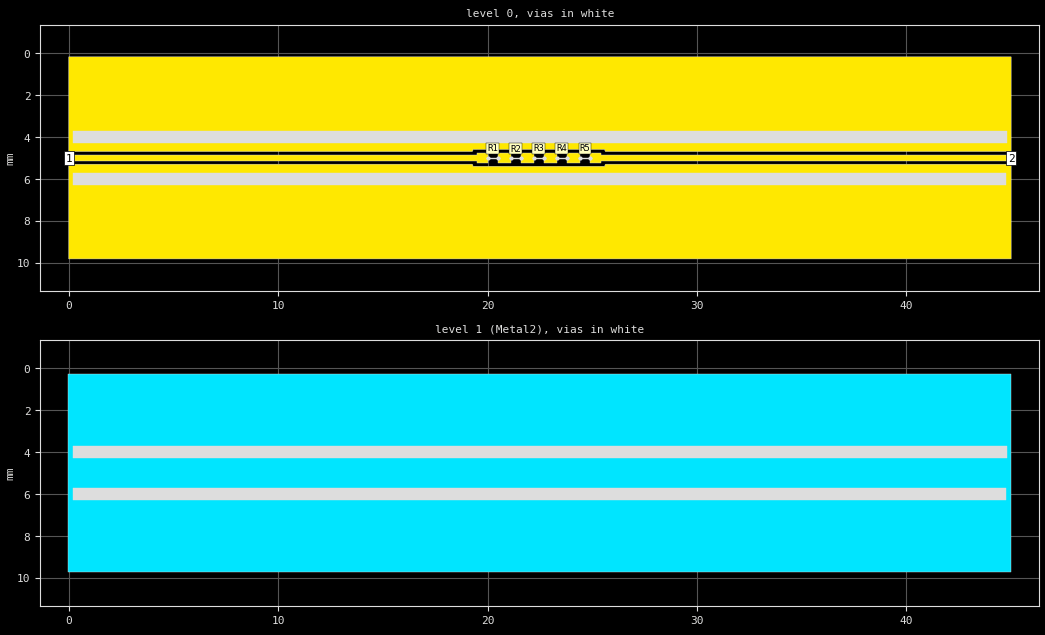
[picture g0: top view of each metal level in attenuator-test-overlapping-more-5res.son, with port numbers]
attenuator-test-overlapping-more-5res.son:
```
FTYP SONPROJ 17 ! Sonnet Project File
VER 17.52.2
HEADER
LIC antikernel2.2.49648 90e2ba8817c0 havequick azonenberg
DAT 08/30/2020 02:09:48
BUILT_BY_CREATED xgeom 16.56 07/03/2018 15:05:41
BUILT_BY_SAVED sonnet 17.52.2
MDATE 08/30/2020 02:09:48
HDATE 08/30/2020 02:09:48
END HEADER
DIM
ANG DEG
CAP PF
CON /OH
FREQ GHZ
IND NH
LNG MM
RES OH
END DIM
CONTROL
VARSWP
OPTIONS  -dj
SPEED 1
CACHE_ABS 1
Q_ACC N
END CONTROL
GEO
TMET "Free Space" 0 FREESPACE 376.7303136 0 0 0
BMET "Free Space" 0 FREESPACE 376.7303136 0 0 0
MET "Silver" 1 TMM 61700000 0.5 0.035 2
BRI "Alumina (96%)" 0 9.4 0.0004 0 
BRI "Alumina (99.5%)" 0 9.9 0.0001 0 
BRI "Aluminum Nitride" 0 8.6 0.0003 0 
BRI "Arlon 25FR" 0 3.58 0.0035 0 
BRI "Arlon 25N" 0 3.38 0.0025 0 
BRI "Arlon AD5" 0 5.1 0.003 0 
BRI "Arlon AD10" 0 10.2 0.005 0 
BRI "Arlon AD250" 0 2.5 0.0018 0 
BRI "Arlon AD255A" 0 2.55 0.0015 0 
BRI "Arlon AD260A" 0 2.6 0.0018 0 
BRI "Arlon AD270" 0 2.7 0.0023 0 
BRI "Arlon AD300A" 0 3 0.002 0 
BRI "Arlon AD320A" 0 3.2 0.0032 0 
BRI "Arlon AD350A" 0 3.5 0.003 0 
BRI "Arlon AD410" 0 4.1 0.003 0 
BRI "Arlon AD430" 0 4.3 0.003 0 
BRI "Arlon AD450" 0 4.5 0.0035 0 
BRI "Arlon AD600" 0 6.15 0.003 0 
BRI "Arlon AD1000" 0 10.2 0.0023 0 
BRI "Arlon AR1000" 0 9.8 0.003 0 
BRI "Arlon CLTE" 0 2.96 0.0023 0 
BRI "Arlon CLTE-AT" 0 3 0.0013 0 
BRI "Arlon CLTE-P" 0 2.94 0.0025 0 
BRI "Arlon CLTE-XT" 0 2.94 0.0012 0 
BRI "Arlon Cu 217LX" 0 2.17 0.0009 0 
BRI "Arlon Cu 233LX" 0 2.33 0.0013 0 
BRI "Arlon Cu 250GT" 0 2.5 0.001 0 
BRI "Arlon Cu 250GX" 0 2.5 0.0018 0 
BRI "Arlon Cu 6250" 0 2.32 0.0013 0 
BRI "Arlon Cu 6700" 0 2.35 0.0025 0 
BRI "Arlon Di 522" 0 2.5 0.001 0 
BRI "Arlon Di 527" 0 2.5 0.0018 0 
BRI "Arlon Di 870" 0 2.33 0.0013 0 
BRI "Arlon Di 880" 0 2.17 0.0009 0 
BRI "Arlon Iso 917" 0 2.17 0.0013 0 
BRI "Arlon Iso 933" 0 2.33 0.0016 0 
BRI "Arlon Multi HF" 0 3.7 0.004 0 
BRI "Arlon TC350" 0 3.5 0.002 0 
BRI "Arlon TC600" 0 6.15 0.002 0 
BRI "Beryllia (99.5%)" 0 6.5 0.0004 0 
BRI "CEM-1" 0 4.5 0.02 0 
BRI "CEM-3" 0 4.5 0.02 0 
BRI "Dupont 9K7" 0 7.1 0.0012 0 
BRI "Dupont 943" 0 7.4 0.002 0 
BRI "Dupont 951" 0 7.8 0.006 0 
BRI "Dupont FEP" 0 2 0.0005 0 
BRI "Dupont Vacrel" 0 3.8 0.011 0 
BRI "ESL 41010" 0 7.5 0.005 0 
BRI "ESL 41020" 0 7.25 0.005 0 
BRI "ESL 41050" 0 13.5 0.002 0 
BRI "ESL 41060" 0 16.5 0.002 0 
BRI "ESL 41110" 0 4.5 0.004 0 
BRI "Ferro A6M" 0 5.9 0.002 0 
BRI "Ferro A6S" 0 5.9 0.002 0 
BRI "Ferro L8" 0 7.3 0.0018 0 
BRI "FR-4" 0 4.4 0.02 0 
BRI "G-10" 0 4.8 0.025 0 
BRI "Gallium Arsenide" 0 12.9 0.006 0 
BRI "Gallium Nitride" 0 9.7 0 0 
BRI "Glass (Pyrex)" 0 4.82 0.0054 0 
BRI "Heraeus HL2000" 0 7.3 0.0026 0 
BRI "Isola 370HR" 0 4.04 0.021 0 
BRI "Isola FR408" 0 3.77 0.0116 0 
BRI "Isola FR408HR" 0 3.68 0.0092 0 
BRI "Isola Getek" 0 3.6 0.01 0 
BRI "Isola GI-180" 0 3.7 0.013 0 
BRI "Isola IS415" 0 3.82 0.0125 0 
BRI "Isola IS620i" 0 3.58 0.006 0 
BRI "Isola IS680-280" 0 2.8 0.0025 0 
BRI "Isola IS680-300" 0 3 0.003 0 
BRI "Isola IS680-320" 0 3.2 0.003 0 
BRI "Isola IS680-333" 0 3.33 0.003 0 
BRI "Isola IS680-338" 0 3.38 0.0032 0 
BRI "Isola IS680-345" 0 3.45 0.0036 0 
BRI "Kerafol CT800" 0 5.3 0.008 0 
BRI "Nelco MW9350" 0 3.7 0.004 0 
BRI "Nelco N4000-12" 0 3.7 0.008 0 
BRI "Nelco N4000-13" 0 3.7 0.009 0 
BRI "Nelco N4000-13SI" 0 3.2 0.007 0 
BRI "Nelco N4000-13EP" 0 3.7 0.008 0 
BRI "Nelco N4350-13RF" 0 3.5 0.0065 0 
BRI "Nelco N4380-13RF" 0 3.8 0.007 0 
BRI "Nelco N9300-13RF" 0 3 0.004 0 
BRI "Nelco N9320-13RF" 0 3.2 0.0045 0 
BRI "Nelco N9338-13RF" 0 3.38 0.0046 0 
BRI "Nelco N9350-13RF" 0 3.48 0.0055 0 
BRI "Nelco NH9294" 0 2.94 0.0022 0 
BRI "Nelco NH9300" 0 3 0.0023 0 
BRI "Nelco NH9320" 0 3.2 0.0024 0 
BRI "Nelco NH9338" 0 3.38 0.0025 0 
BRI "Nelco NH9348" 0 3.48 0.003 0 
BRI "Nelco NH9350" 0 3.5 0.003 0 
BRI "Nelco NH9410" 0 4.1 0.003 0 
BRI "Nelco NH9450" 0 4.5 0.003 0 
BRI "Nelco NX9240" 0 2.4 0.0016 0 
BRI "Nelco NX9245" 0 2.45 0.0016 0 
BRI "Nelco NX9250" 0 2.5 0.0017 0 
BRI "Nelco NX9255" 0 2.55 0.0018 0 
BRI "Nelco NX9260" 0 2.6 0.0019 0 
BRI "Nelco NY9208" 0 2.08 0.0006 0 
BRI "Nelco NY9217" 0 2.17 0.0008 0 
BRI "Nelco NY9220" 0 2.2 0.0009 0 
BRI "Nelco NY9233" 0 2.33 0.0011 0 
BRI "PET" 0 3.37 0.0208 0 
BRI "Polyimide" 0 3.5 0.003 0 
BRI "Quartz (Fused)" 0 3.78 0.0001 0 
BRI "Rogers 3001" 0 2.28 0.003 0 
BRI "Rogers RO2808" 0 7.6 0.0015 0 
BRI "Rogers RO3003" 0 3 0.0013 0 
BRI "Rogers RO3006" 0 6.5 0.002 0 
BRI "Rogers RO3010" 0 11.2 0.0022 0 
BRI "Rogers RO3035" 0 3.6 0.0018 0 
BRI "Rogers RO3203" 0 3.02 0.0016 0 
BRI "Rogers RO3206" 0 6.6 0.0027 0 
BRI "Rogers RO3210" 0 10.8 0.0027 0 
BRI "Rogers RO3730" 0 3 0.0016 0 
BRI "Rogers RO4003C" 0 3.55 0.0029 0 
BRI "Rogers RO4533" 0 3.45 0.0029 0 
BRI "Rogers RO4534" 0 3.4 0.003 0 
BRI "Rogers RO4350B" 0 3.66 0.0037 0 
BRI "Rogers RO4350BTX" 0 3.66 0.0034 0 
BRI "Rogers RO4360" 0 6.15 0.0038 0 
BRI "Rogers RO4450B-3.6" 0 3.3 0.0043 0 
BRI "Rogers RO4450B-4" 0 3.54 0.004 0 
BRI "Rogers RO4450F" 0 3.52 0.0041 0 
BRI "Rogers RO4730" 0 3 0.0033 0 
BRI "Rogers RT5870" 0 2.33 0.0012 0 
BRI "Rogers RT5880" 0 2.2 0.0009 0 
BRI "Rogers RT5880LZ" 0 1.96 0.0019 0 
BRI "Rogers RT6002" 0 2.94 0.0012 0 
BRI "Rogers RT6006" 0 6.15 0.0027 0 
BRI "Rogers RT6010LM" 0 10.9 0.0023 0 
BRI "Rogers RT6035HTC" 0 3.6 0.0013 0 
BRI "Rogers RT6202" 0 2.94 0.0015 0 
BRI "Rogers RT6202PR" 0 2.95 0.0015 0 
BRI "Rogers Syron7000" 0 3.4 0.0045 0 
BRI "Rogers Syron7100-2" 0 3.61 0.006 0 
BRI "Rogers Syron7100-4" 0 3.39 0.005 0 
BRI "Rogers Theta" 0 4.01 0.0118 0 
BRI "Rogers TMM 3" 0 3.39 0.002 0 
BRI "Rogers TMM 4" 0 4.5 0.002 0 
BRI "Rogers TMM 6" 0 6 0.0023 0 
BRI "Rogers TMM 10" 0 9.56 0.0022 0 
BRI "Rogers TMM 10i" 0 9.96 0.002 0 
BRI "Rogers UL2000" 0 2.5 0.0019 0 
BRI "Rogers UL3850" 0 3.05 0.0025 0 
BRI "Rogers UL3908" 0 2.9 0.0025 0 
BRI "Rogers XT8000" 0 3.34 0.0035 0 
BRI "Rogers XT8100-2" 0 3.54 0.0049 0 
BRI "Rogers XT8100-4" 0 3.32 0.0038 0 
BRI "Silicon (intrinsic)" 0 11.9 0.004 0.00044 
BRI "Silicon Dioxide" 0 3.9 0 0 
BRI "Silicon Nitride" 0 7.5 0 0 
BRI "Taconic CER-10" 0 10 0.0035 0 
BRI "Taconic FastFilm" 0 2.7 0.0012 0 
BRI "Taconic Fastrise-DS" 0 2.96 0.0018 0 
BRI "Taconic Fastrise27" 0 2.7 0.0014 0 
BRI "Taconic Fastrise77" 0 7.7 0.0034 0 
BRI "Taconic FEP" 0 2 0.0003 0 
BRI "Taconic RF-30" 0 3 0.0014 0 
BRI "Taconic RF-35" 0 3.5 0.0018 0 
BRI "Taconic RF-35A2" 0 3.5 0.0011 0 
BRI "Taconic RF-35P" 0 3.5 0.0025 0 
BRI "Taconic RF-41" 0 4.1 0.0038 0 
BRI "Taconic RF-43" 0 4.3 0.0033 0 
BRI "Taconic RF-45" 0 4.5 0.0037 0 
BRI "Taconic RF-60A" 0 6.15 0.0038 0 
BRI "Taconic RF-301" 0 2.97 0.0012 0 
BRI "Taconic TacBond HT" 0 2.35 0.0025 0 
BRI "Taconic TLA-6" 0 2.62 0.0012 0 
BRI "Taconic TLC-27" 0 2.75 0.003 0 
BRI "Taconic TLC-30" 0 3 0.003 0 
BRI "Taconic TLC-32" 0 3.2 0.003 0 
BRI "Taconic TLE-95" 0 2.95 0.0028 0 
BRI "Taconic TLF-34" 0 3.4 0.002 0 
BRI "Taconic TLF-35" 0 3.5 0.002 0 
BRI "Taconic TLP-3" 0 2.33 0.0009 0 
BRI "Taconic TLP-5" 0 2.2 0.0009 0 
BRI "Taconic TLP-5A" 0 2.17 0.0009 0 
BRI "Taconic TLT-0" 0 2.45 0.0006 0 
BRI "Taconic TLT-9" 0 2.5 0.0006 0 
BRI "Taconic TLT-8" 0 2.55 0.0006 0 
BRI "Taconic TLT-7" 0 2.6 0.0006 0 
BRI "Taconic TLT-6" 0 2.65 0.0006 0 
BRI "Taconic TLX-0" 0 2.45 0.0019 0 
BRI "Taconic TLX-9" 0 2.5 0.0019 0 
BRI "Taconic TLX-8" 0 2.55 0.0019 0 
BRI "Taconic TLX-7" 0 2.6 0.0019 0 
BRI "Taconic TLX-6" 0 2.65 0.0019 0 
BRI "Taconic TLY-3" 0 2.33 0.0009 0 
BRI "Taconic TLY-3F" 0 2.33 0.0009 0 
BRI "Taconic TLY-5" 0 2.2 0.0009 0 
BRI "Taconic TLY-5-L" 0 2.2 0.0009 0 
BRI "Taconic TLY-5A" 0 2.17 0.0009 0 
BRI "Taconic TLY-5A-L" 0 2.17 0.0009 0 
BRI "Taconic TPG-30" 0 3 0.0038 0 
BRI "Taconic TPG-32" 0 3.2 0.005 0 
BRI "Taconic TPG-35" 0 3.5 0.005 0 
BRI "Taconic TRF-41" 0 4.1 0.0035 0 
BRI "Taconic TRF-43" 0 4.3 0.0035 0 
BRI "Taconic TRF-45" 0 4.5 0.0035 0 
BRI "Taconic TSM-DS" 0 2.85 0.001 0 
BRI "Taconic TSM-DS3" 0 3 0.0011 0 
BRI "Taconic TSM-26" 0 2.6 0.0014 0 
BRI "Taconic TSM-29" 0 2.94 0.0013 0 
BRI "Taconic TSM-30" 0 3 0.0013 0 
BRI "Teflon (PTFE)" 0 2.08 0.0004 0 
BOX 2 45 10 3600 800 20 0
      1 1 1 0 0 0 0 "Air"
      0.16 3.68 1 0.0092 0 0 0 "Isola FR408HR"
      1 1 1 0 0 0 0 "Substrate"
TECHLAY METAL Metal1 <UNSPECIFIED> -2 0 
0 0 0 N 0 1 1 100 100 0 0 0 Y
END
END
TECHLAY VIA Via1 <UNSPECIFIED> -4 0 
VIA POLYGON
1 0 -1 N 0 1 1 100 100 0 0 0 Y
TOLEVEL 0 RING NOCOVERS
END
END
TECHLAY METAL Metal2 <UNSPECIFIED> -3 0 
1 0 -1 N 0 1 1 100 100 0 0 0 Y
END
END
LORGN 0 10 U 
POR1 BOX
POLY 771 1
3
1 50 0 0 0 0 5 
POR1 BOX
POLY 774 1
1
2 50 0 0 0 45 5 
SMD 0 "R1"
ID 473
GNDREF AUTO
SBOX 20.125 20.375 4.875 5.125
PBSHW N
LPOS 20.25 4.875
TYPE SPARAM 1
SMDP 0 20 5 L 3 1 
EXSMDP
GNDREF AUTO
TERMW FEED
END EXSMDP
SMDP 0 20.5 5 R 4 2 
EXSMDP
GNDREF AUTO
TERMW FEED
END EXSMDP
END
SMD 0 "R2"
ID 476
GNDREF AUTO
SBOX 21.225 21.475 4.9 5.15
PBSHW N
LPOS 21.35 4.9
TYPE SPARAM 1
SMDP 0 21.1 5.025 L 5 1 
EXSMDP
GNDREF AUTO
TERMW FEED
END EXSMDP
SMDP 0 21.6 5.025 R 6 2 
EXSMDP
GNDREF AUTO
TERMW FEED
END EXSMDP
END
SMD 0 "R3"
ID 479
GNDREF AUTO
SBOX 22.325 22.575 4.875 5.125
PBSHW N
LPOS 22.45 4.875
TYPE SPARAM 1
SMDP 0 22.2 5 L 7 1 
EXSMDP
GNDREF AUTO
TERMW FEED
END EXSMDP
SMDP 0 22.7 5 R 8 2 
EXSMDP
GNDREF AUTO
TERMW FEED
END EXSMDP
END
SMD 0 "R4"
ID 482
GNDREF AUTO
SBOX 23.425 23.675 4.875 5.125
PBSHW N
LPOS 23.55 4.875
TYPE SPARAM 1
SMDP 0 23.3 5 L 9 1 
EXSMDP
GNDREF AUTO
TERMW FEED
END EXSMDP
SMDP 0 23.8 5 R 10 2 
EXSMDP
GNDREF AUTO
TERMW FEED
END EXSMDP
END
SMD 0 "R5"
ID 485
GNDREF AUTO
SBOX 24.525 24.775 4.875 5.125
PBSHW N
LPOS 24.65 4.875
TYPE SPARAM 2
SMDP 0 24.4 5 L 11 1 
EXSMDP
GNDREF AUTO
TERMW FEED
END EXSMDP
SMDP 0 24.9 5 R 12 2 
EXSMDP
GNDREF AUTO
TERMW FEED
END EXSMDP
END
NUM 11
0 5 0 N 763 1 1 100 100 0 0 0 Y
USER_DAT FromImport
23.3 4.75
22.7 4.75
22.7 5.25
23.3 5.25
23.3 4.75
END
0 5 0 N 765 1 1 100 100 0 0 0 Y
USER_DAT FromImport
24.4 4.75
23.8 4.75
23.8 5.25
24.4 5.25
24.4 4.75
END
0 5 0 N 766 1 1 100 100 0 0 0 Y
USER_DAT FromImport
22.2 4.75
21.6 4.75
21.6 5.25
22.2 5.25
22.2 4.75
END
0 5 0 N 767 1 1 100 100 0 0 0 Y
USER_DAT FromImport
21.1 4.75
20.5 4.75
20.5 5.25
21.1 5.25
21.1 4.75
END
0 9 0 N 771 1 1 100 100 0 0 0 Y
USER_DAT FromImport
20 4.75
19.5 4.75
19.5 4.85
0 4.85
0 5.15
19.5 5.15
19.5 5.25
20 5.25
20 4.75
END
0 105 0 N 773 1 1 100 100 0 0 0 Y
USER_DAT FromImport
45 5.301
39.703 5.301
39.693 5.3
25.659 5.3
25.653 5.3006
25.647 5.3018
25.641 5.3036
25.636 5.3059
25.63 5.3088
25.625 5.3122
25.62 5.3161
25.616 5.3205
25.612 5.3252
25.609 5.3303
25.606 5.3357
25.604 5.3414
25.602 5.3473
25.601 5.3533
25.6 5.3594
25.6 5.3656
25.6 5.39814
25.59954386 5.399745614
25.597 5.4
25.407 5.4
25.401 5.4006
25.401 5.4006
25.401 5.4006
25.397 5.401
24.903 5.401
24.899 5.4006
24.899 5.4006
24.893 5.4
24.407 5.4
24.401 5.4006
24.401 5.4006
24.401 5.4006
24.397 5.401
23.803 5.401
23.799 5.4006
23.799 5.4006
23.793 5.4
23.307 5.4
23.301 5.4006
23.301 5.4006
23.301 5.4006
23.297 5.401
22.703 5.401
22.699 5.4006
22.699 5.4006
22.693 5.4
22.207 5.4
22.201 5.4006
22.201 5.4006
22.201 5.4006
22.197 5.401
21.603 5.401
21.599 5.4006
21.599 5.4006
21.593 5.4
21.107 5.4
21.101 5.4006
21.101 5.4006
21.101 5.4006
21.097 5.401
20.503 5.401
20.499 5.4006
20.499 5.4006
20.493 5.4
20.007 5.4
20.001 5.4006
20.001 5.4006
20.001 5.4006
19.997 5.401
19.503 5.401
19.499 5.4006
19.499 5.4006
19.493 5.4
19.303 5.4
19.30045614 5.399745614
19.3 5.39814
19.3 5.3656
19.3 5.3594
19.299 5.3533
19.298 5.3473
19.296 5.3414
19.294 5.3357
19.291 5.3303
19.288 5.3252
19.284 5.3205
19.28 5.3161
19.275 5.3122
19.27 5.3088
19.264 5.3059
19.259 5.3036
19.253 5.3018
19.247 5.3006
19.241 5.3
5.307 5.3
5.301 5.3006
5.301 5.3006
5.297 5.301
0 5.301
0 9.825
45 9.825
45 5.301
END
0 9 0 N 774 1 1 100 100 0 0 0 Y
USER_DAT FromImport
25.4 5.15
45 5.15
45 4.85
25.4 4.85
25.4 4.75
24.9 4.75
24.9 5.25
25.4 5.25
25.4 5.15
END
0 104 0 N 775 1 1 100 100 0 0 0 Y
USER_DAT FromImport
39.703 4.699
45 4.699
45 0.175
0 0.175
0 4.699
5.297 4.699
5.301 4.6994
5.301 4.6994
5.307 4.7
19.241 4.7
19.247 4.6994
19.253 4.6982
19.259 4.6964
19.264 4.6941
19.27 4.6912
19.275 4.6878
19.28 4.6839
19.284 4.6795
19.288 4.6748
19.291 4.6697
19.294 4.6643
19.296 4.6586
19.298 4.6527
19.299 4.6467
19.3 4.6406
19.3 4.60186
19.30045614 4.600254386
19.303 4.6
19.493 4.6
19.499 4.5994
19.499 4.5994
19.503 4.599
19.997 4.599
20.001 4.5994
20.001 4.5994
20.001 4.5994
20.007 4.6
20.493 4.6
20.499 4.5994
20.499 4.5994
20.503 4.599
21.097 4.599
21.101 4.5994
21.101 4.5994
21.101 4.5994
21.107 4.6
21.593 4.6
21.599 4.5994
21.599 4.5994
21.603 4.599
22.197 4.599
22.201 4.5994
22.201 4.5994
22.201 4.5994
22.207 4.6
22.693 4.6
22.699 4.5994
22.699 4.5994
22.703 4.599
23.297 4.599
23.301 4.5994
23.301 4.5994
23.301 4.5994
23.307 4.6
23.793 4.6
23.799 4.5994
23.799 4.5994
23.803 4.599
24.397 4.599
24.401 4.5994
24.401 4.5994
24.401 4.5994
24.407 4.6
24.893 4.6
24.899 4.5994
24.899 4.5994
24.903 4.599
25.397 4.599
25.401 4.5994
25.401 4.5994
25.401 4.5994
25.407 4.6
25.597 4.6
25.59954386 4.600254386
25.6 4.60186
25.6 4.6344
25.6 4.6406
25.601 4.6467
25.602 4.6527
25.604 4.6586
25.606 4.6643
25.609 4.6697
25.612 4.6748
25.616 4.6795
25.62 4.6839
25.625 4.6878
25.63 4.6912
25.636 4.6941
25.641 4.6964
25.647 4.6982
25.653 4.6994
25.659 4.7
39.693 4.7
39.703 4.699
END
VIA POLYGON
1 5 -1 N 751 1 1 100 100 0 0 0 Y
TOLEVEL 0 RING NOCOVERS
TLAYNAM Via1 INH
0.2 5.725
44.772 5.725
44.772 6.2747
0.2 6.2747
0.2 5.725
END
VIA POLYGON
1 5 -1 N 752 1 1 100 100 0 0 0 Y
TOLEVEL 0 RING NOCOVERS
TLAYNAM Via1 INH
0.225 3.725
44.797 3.725
44.797 4.2747
0.225 4.2747
0.225 3.725
END
1 5 -1 N 754 1 1 100 100 0 0 0 Y
TLAYNAM Metal2 INH
USER_DAT FromImport
-0.013 9.7125
-0.013 0.2875
45 0.2875
45 9.7125
-0.013 9.7125
END
END GEO
OPT
MAX 100
END OPT
VARSWP
ENABLED Y
FREQ Y AY ABS_ENTRY 0.1 6.0 -1 300 
END
END VARSWP
FILEOUT
FOLDER .
END FILEOUT
SMDFILES
1 "../../../../../../share/datasheets/Vishay/0402/FC0402-FlipChip-100 Ohm.s2p"
2 "../../../../../../share/datasheets/Vishay/0402/FC0402-FlipChip-50 Ohm.s2p"
END SMDFILES
```
